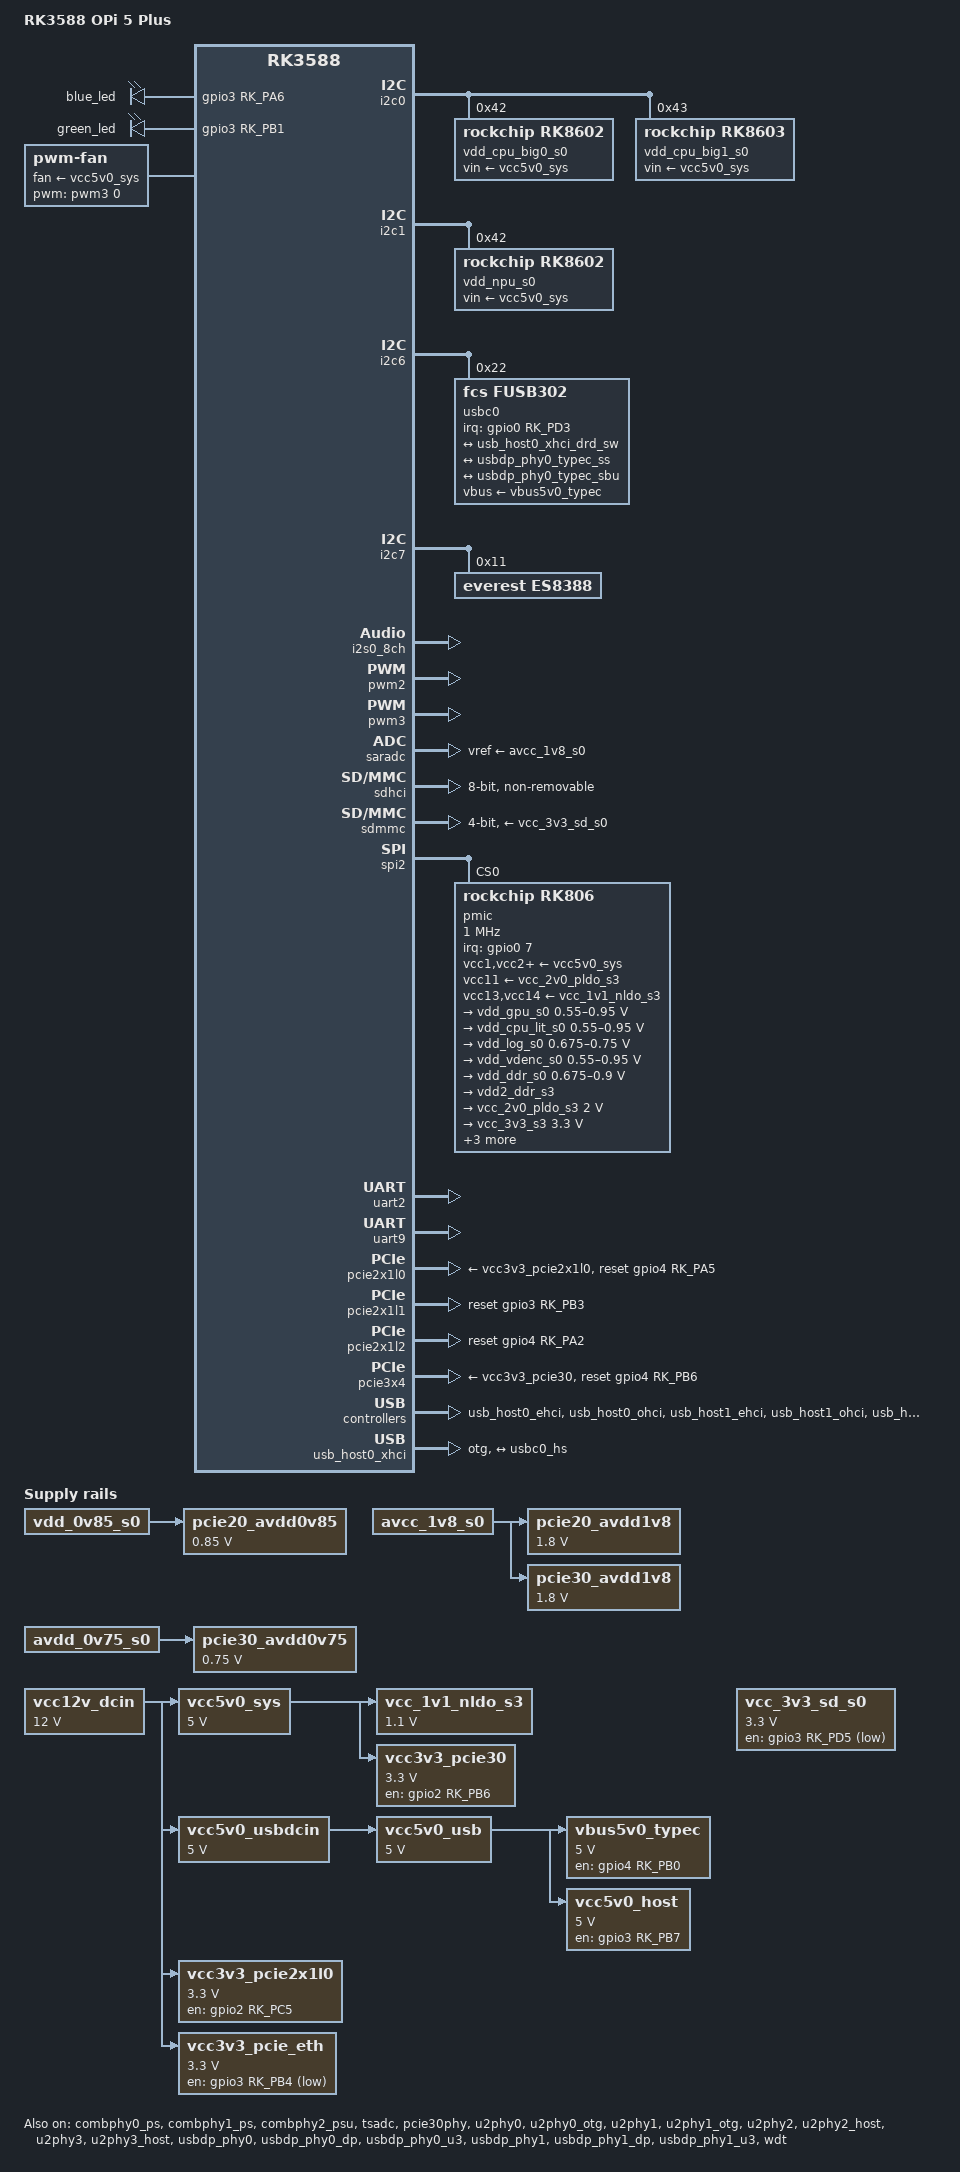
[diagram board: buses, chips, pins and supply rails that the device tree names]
// SPDX-License-Identifier: (GPL-2.0+ OR MIT)

/dts-v1/;

#include <dt-bindings/pinctrl/rockchip.h>
#include <dt-bindings/gpio/gpio.h>
#include <dt-bindings/input/input.h>
#include <dt-bindings/usb/pd.h>
#include "rk3588.dtsi"

/ {
	model = "RK3588 OPi 5 Plus";
	compatible = "rockchip,rk3588-orangepi-5-plus", "rockchip,rk3588";

	aliases {
		mmc0 = &sdmmc;
		mmc1 = &sdhci;
		serial2 = &uart2;
	};

	chosen {
		stdout-path = "serial2:1500000n8";
	};

	gpio_leds: leds {
		compatible = "gpio-leds";
		pinctrl-names = "default";
		pinctrl-0 =<&leds_rgb>;
		status = "okay";

		blue_led@1 {
			gpios = <&gpio3 RK_PA6 GPIO_ACTIVE_HIGH>;
			label = "blue_led";
			linux,default-trigger = "heartbeat";
			linux,default-trigger-delay-ms = <0>;
		};

		green_led@2 {
			gpios = <&gpio3 RK_PB1 GPIO_ACTIVE_HIGH>;
			label = "green_led";
			linux,default-trigger = "heartbeat";
			linux,default-trigger-delay-ms = <0>;
		};
	};

	fan: pwm-fan {
		compatible = "pwm-fan";
		cooling-levels = <0 70 75 80 100>;
		fan-supply = <&vcc5v0_sys>;
		pwms = <&pwm3 0 50000 0>;
		#cooling-cells = <2>;
	};

	vcc12v_dcin: vcc12v-dcin-regulator {
		compatible = "regulator-fixed";
		regulator-name = "vcc12v_dcin";
		regulator-always-on;
		regulator-boot-on;
		regulator-min-microvolt = <12000000>;
		regulator-max-microvolt = <12000000>;
	};

	vcc5v0_sys: vcc5v0-sys-regulator {
		compatible = "regulator-fixed";
		regulator-name = "vcc5v0_sys";
		regulator-always-on;
		regulator-boot-on;
		regulator-min-microvolt = <5000000>;
		regulator-max-microvolt = <5000000>;
		vin-supply = <&vcc12v_dcin>;
	};

	vcc_1v1_nldo_s3: vcc-1v1-nldo-s3-regulator {
		compatible = "regulator-fixed";
		regulator-name = "vcc_1v1_nldo_s3";
		regulator-always-on;
		regulator-boot-on;
		regulator-min-microvolt = <1100000>;
		regulator-max-microvolt = <1100000>;
		vin-supply = <&vcc5v0_sys>;
	};

	vcc_3v3_sd_s0: vcc-3v3-sd-s0 {
		compatible = "regulator-fixed";
		regulator-name = "vcc_3v3_sd_s0";
		regulator-min-microvolt = <3300000>;
		regulator-max-microvolt = <3300000>;
		gpios = <&gpio3 RK_PD5 GPIO_ACTIVE_LOW>;
		pinctrl-names = "default";
		pinctrl-0 = <&sdmmc_pwr>;
		enable-active-low;
	};

	vcc5v0_usbdcin: vcc5v0-usbdcin-regulator {
		compatible = "regulator-fixed";
		regulator-name = "vcc5v0_usbdcin";
		regulator-always-on;
		regulator-boot-on;
		regulator-min-microvolt = <5000000>;
		regulator-max-microvolt = <5000000>;
		vin-supply = <&vcc12v_dcin>;
	};

	vcc5v0_usb: vcc5v0-usb-regulator {
		compatible = "regulator-fixed";
		regulator-name = "vcc5v0_usb";
		regulator-always-on;
		regulator-boot-on;
		regulator-min-microvolt = <5000000>;
		regulator-max-microvolt = <5000000>;
		vin-supply = <&vcc5v0_usbdcin>;
	};

	vbus5v0_typec: vbus5v0-typec-regulator {
		compatible = "regulator-fixed";
		regulator-name = "vbus5v0_typec";
		regulator-min-microvolt = <5000000>;
		regulator-max-microvolt = <5000000>;
		enable-active-high;
		gpio = <&gpio4 RK_PB0 GPIO_ACTIVE_HIGH>;
		vin-supply = <&vcc5v0_usb>;
		pinctrl-names = "default";
		pinctrl-0 = <&typec5v_pwren>;
	};

	pcie20_avdd0v85: pcie20-avdd0v85-regulator {
		compatible = "regulator-fixed";
		regulator-name = "pcie20_avdd0v85";
		regulator-boot-on;
		regulator-always-on;
		regulator-min-microvolt = <850000>;
		regulator-max-microvolt = <850000>;
		vin-supply = <&vdd_0v85_s0>;
	};

	pcie20_avdd1v8: pcie20-avdd1v8-regulator {
		compatible = "regulator-fixed";
		regulator-name = "pcie20_avdd1v8";
		regulator-boot-on;
		regulator-always-on;
		regulator-min-microvolt = <1800000>;
		regulator-max-microvolt = <1800000>;
		vin-supply = <&avcc_1v8_s0>;
	};

	pcie30_avdd0v75: pcie30-avdd0v75-regulator {
		compatible = "regulator-fixed";
		regulator-name = "pcie30_avdd0v75";
		regulator-boot-on;
		regulator-always-on;
		regulator-min-microvolt = <750000>;
		regulator-max-microvolt = <750000>;
		vin-supply = <&avdd_0v75_s0>;
	};

	pcie30_avdd1v8: pcie30-avdd1v8-regulator {
		compatible = "regulator-fixed";
		regulator-name = "pcie30_avdd1v8";
		regulator-boot-on;
		regulator-always-on;
		regulator-min-microvolt = <1800000>;
		regulator-max-microvolt = <1800000>;
		vin-supply = <&avcc_1v8_s0>;
	};

	vcc3v3_pcie30: vcc3v3-pcie30-regulator {
		compatible = "regulator-fixed";
		regulator-name = "vcc3v3_pcie30";
		regulator-min-microvolt = <3300000>;
		regulator-max-microvolt = <3300000>;
		enable-active-high;
		gpios = <&gpio2 RK_PB6 GPIO_ACTIVE_HIGH>;
		startup-delay-us = <5000>;
		vin-supply = <&vcc5v0_sys>;
	};

	vcc3v3_pcie2x1l0: vcc3v3-pcie2x1l0-regulator {
		compatible = "regulator-fixed";
		regulator-name = "vcc3v3_pcie2x1l0";
		regulator-min-microvolt = <3300000>;
		regulator-max-microvolt = <3300000>;
		enable-active-high;
		gpios = <&gpio2 RK_PC5 GPIO_ACTIVE_HIGH>;
		startup-delay-us = <50000>;
		vin-supply = <&vcc12v_dcin>;
	};

	vcc3v3_pcie_eth: vcc3v3-pcie-eth-regulator {
		compatible = "regulator-fixed";
		regulator-name = "vcc3v3_pcie_eth";
		regulator-min-microvolt = <3300000>;
		regulator-max-microvolt = <3300000>;
		regulator-boot-on;
		regulator-always-on;
		enable-active-low;
		gpios = <&gpio3 RK_PB4 GPIO_ACTIVE_LOW>;
		startup-delay-us = <50000>;
		vin-supply = <&vcc12v_dcin>;
	};

	vcc5v0_host: vcc5v0-host-regulator {
		compatible = "regulator-fixed";
		regulator-name = "vcc5v0_host";
		regulator-boot-on;
		regulator-always-on;
		regulator-min-microvolt = <5000000>;
		regulator-max-microvolt = <5000000>;
		enable-active-high;
		gpio = <&gpio3 RK_PB7 GPIO_ACTIVE_HIGH>;
		vin-supply = <&vcc5v0_usb>;
		pinctrl-names = "default";
		pinctrl-0 = <&vcc5v0_host_en>;
	};
};

&combphy0_ps {
	status = "okay";
};

&combphy1_ps {
	status = "okay";
};

&combphy2_psu {
	status = "okay";
};

&cpu_b0 {
	cpu-supply = <&vdd_cpu_big0_s0>;
	mem-supply = <&vdd_cpu_big0_mem_s0>;
};

&cpu_b1 {
	cpu-supply = <&vdd_cpu_big0_s0>;
	mem-supply = <&vdd_cpu_big0_mem_s0>;
};

&cpu_b2 {
	cpu-supply = <&vdd_cpu_big1_s0>;
	mem-supply = <&vdd_cpu_big1_mem_s0>;
};

&cpu_b3 {
	cpu-supply = <&vdd_cpu_big1_s0>;
	mem-supply = <&vdd_cpu_big1_mem_s0>;
};

&cpu_l0 {
	cpu-supply = <&vdd_cpu_lit_s0>;
	mem-supply = <&vdd_cpu_lit_mem_s0>;
};

&cpu_l1 {
	cpu-supply = <&vdd_cpu_lit_s0>;
	mem-supply = <&vdd_cpu_lit_mem_s0>;
};

&cpu_l2 {
	cpu-supply = <&vdd_cpu_lit_s0>;
	mem-supply = <&vdd_cpu_lit_mem_s0>;
};

&cpu_l3 {
	cpu-supply = <&vdd_cpu_lit_s0>;
	mem-supply = <&vdd_cpu_lit_mem_s0>;
};

&i2c0 {
	pinctrl-names = "default";
	pinctrl-0 = <&i2c0m2_xfer>;
	status = "okay";

	vdd_cpu_big0_s0: vdd_cpu_big0_mem_s0: regulator@42 {
		compatible = "rockchip,rk8602";
		reg = <0x42>;
		fcs,suspend-voltage-selector = <1>;
		regulator-name = "vdd_cpu_big0_s0";
		regulator-always-on;
		regulator-boot-on;
		regulator-min-microvolt = <550000>;
		regulator-max-microvolt = <1050000>;
		regulator-ramp-delay = <2300>;
		vin-supply = <&vcc5v0_sys>;

		regulator-state-mem {
			regulator-off-in-suspend;
		};
	};

	vdd_cpu_big1_s0: vdd_cpu_big1_mem_s0: regulator@43 {
		compatible = "rockchip,rk8603", "rockchip,rk8602";
		reg = <0x43>;
		fcs,suspend-voltage-selector = <1>;
		regulator-name = "vdd_cpu_big1_s0";
		regulator-always-on;
		regulator-boot-on;
		regulator-min-microvolt = <550000>;
		regulator-max-microvolt = <1050000>;
		regulator-ramp-delay = <2300>;
		vin-supply = <&vcc5v0_sys>;

		regulator-state-mem {
			regulator-off-in-suspend;
		};
	};
};

&i2c1 {
	pinctrl-names = "default";
	pinctrl-0 = <&i2c1m2_xfer>;
	status = "okay";

	vdd_npu_s0: vdd_npu_mem_s0: rk8602@42 {
		compatible = "rockchip,rk8602";
		reg = <0x42>;
		vin-supply = <&vcc5v0_sys>;
		regulator-compatible = "rk860x-reg";
		regulator-name = "vdd_npu_s0";
		regulator-min-microvolt = <550000>;
		regulator-max-microvolt = <950000>;
		regulator-ramp-delay = <2300>;
		rockchip,suspend-voltage-selector = <1>;
		regulator-boot-on;
		regulator-always-on;

		regulator-state-mem {
			regulator-off-in-suspend;
		};
	};
};

&i2c6 {
	pinctrl-names = "default";
	pinctrl-0 = <&i2c6m0_xfer>;
	status = "okay";

	usbc0: usb-typec@22 {
		compatible = "fcs,fusb302";
		reg = <0x22>;
		interrupt-parent = <&gpio0>;
		interrupts = <RK_PD3 IRQ_TYPE_LEVEL_LOW>;
		pinctrl-names = "default";
		pinctrl-0 = <&usbc0_int>;
		vbus-supply = <&vbus5v0_typec>;
		status = "okay";

		usb_con: connector {
			compatible = "usb-c-connector";
			label = "USB-C";
			data-role = "dual";
			power-role = "dual";
			try-power-role = "sink";
			op-sink-microwatt = <1000000>;
			sink-pdos =
				<PDO_FIXED(5000, 1000, PDO_FIXED_USB_COMM)>;
			source-pdos =
				<PDO_FIXED(5000, 3000, PDO_FIXED_USB_COMM)>;

			ports {
				#address-cells = <1>;
				#size-cells = <0>;

				port@0 {
					reg = <0>;
					usbc0_hs: endpoint {
						remote-endpoint = <&usb_host0_xhci_drd_sw>;
					};
				};

				port@1 {
					reg = <1>;
					usbc0_ss: endpoint {
						remote-endpoint = <&usbdp_phy0_typec_ss>;
					};
				};

				port@2 {
					reg = <2>;
					usbc0_sbu: endpoint {
						remote-endpoint = <&usbdp_phy0_typec_sbu>;
					};
				};
			};
		};
	};
};

&i2c7 {
	status = "okay";

	es8388: audio-codec@11 {
		compatible = "everest,es8388";
		reg = <0x11>;
		clocks = <&cru I2S0_8CH_MCLKOUT>;
		clock-names = "mclk";
		assigned-clocks = <&cru I2S0_8CH_MCLKOUT>;
		assigned-clock-rates = <12288000>;
		pinctrl-names = "default";
		pinctrl-0 = <&i2s0_mclk>;
		#sound-dai-cells = <0>;
	};
};

&i2s0_8ch {
	pinctrl-0 = <&i2s0_lrck
		     &i2s0_sclk
		     &i2s0_sdi0
		     &i2s0_sdo0>;
	status = "okay";
};

&pinctrl {
	usb {
		vcc5v0_host_en: vcc5v0-host-en {
			rockchip,pins = <3 RK_PB7 RK_FUNC_GPIO &pcfg_pull_none>;
		};
	};

	usb-typec {
		usbc0_int: usbc0-int {
			rockchip,pins = <0 RK_PD3 RK_FUNC_GPIO &pcfg_pull_up>;
		};

		typec5v_pwren: typec5v-pwren {
			rockchip,pins = <4 RK_PB0 RK_FUNC_GPIO &pcfg_pull_none>;
		};
	};

	sdmmc {
		sdmmc_pwr: sdmmc_pwr {
			rockchip,pins = <3 RK_PD5 RK_FUNC_GPIO &pcfg_pull_down>;
		};
	};

	gpio-func {
		leds_rgb: leds-rgb {
		        rockchip,pins = <3 RK_PA6 RK_FUNC_GPIO &pcfg_pull_up>,
					<3 RK_PB1 RK_FUNC_GPIO &pcfg_pull_up>;
		};
	};
};

&pwm2 {
	pinctrl-names = "default";
	pinctrl-0 = <&pwm2m2_pins>;
	status = "okay";
};

&pwm3 {
	pinctrl-names = "default";
	pinctrl-0 = <&pwm3m1_pins>;
	status = "okay";
};

&saradc {
	vref-supply = <&avcc_1v8_s0>;
	status = "okay";
};

&sdhci {
	bus-width = <8>;
	no-sdio;
	no-sd;
	non-removable;
	max-frequency = <200000000>;
	mmc-hs400-1_8v;
	mmc-hs400-enhanced-strobe;
	status = "okay";
};

&sdmmc {
	max-frequency = <150000000>;
	no-sdio;
	no-mmc;
	bus-width = <4>;
	cap-mmc-highspeed;
	cap-sd-highspeed;
	disable-wp;
	sd-uhs-sdr104;
	vmmc-supply = <&vcc_3v3_sd_s0>;
	vqmmc-supply = <&vccio_sd_s0>;
	status = "okay";
};

&spi0 {
	assigned-clocks = <&cru CLK_SPI0>;
	assigned-clock-rates = <200000000>;
	num-cs = <2>;
	status = "disabled";
};

&spi2 {
	status = "okay";
	assigned-clocks = <&cru CLK_SPI2>;
	assigned-clock-rates = <200000000>;
	pinctrl-names = "default";
	pinctrl-0 = <&spi2m2_cs0 &spi2m2_pins>;
	num-cs = <1>;

	pmic@0 {
		compatible = "rockchip,rk806";
		spi-max-frequency = <1000000>;
		reg = <0x0>;

		interrupt-parent = <&gpio0>;
		interrupts = <7 IRQ_TYPE_LEVEL_LOW>;

		pinctrl-names = "default";
		pinctrl-0 = <&pmic_pins>, <&rk806_dvs1_null>,
			    <&rk806_dvs2_null>, <&rk806_dvs3_null>;

		vcc1-supply = <&vcc5v0_sys>;
		vcc2-supply = <&vcc5v0_sys>;
		vcc3-supply = <&vcc5v0_sys>;
		vcc4-supply = <&vcc5v0_sys>;
		vcc5-supply = <&vcc5v0_sys>;
		vcc6-supply = <&vcc5v0_sys>;
		vcc7-supply = <&vcc5v0_sys>;
		vcc8-supply = <&vcc5v0_sys>;
		vcc9-supply = <&vcc5v0_sys>;
		vcc10-supply = <&vcc5v0_sys>;
		vcc11-supply = <&vcc_2v0_pldo_s3>;
		vcc12-supply = <&vcc5v0_sys>;
		vcc13-supply = <&vcc_1v1_nldo_s3>;
		vcc14-supply = <&vcc_1v1_nldo_s3>;
		vcca-supply = <&vcc5v0_sys>;

		gpio-controller;
		#gpio-cells = <2>;

		rk806_dvs1_null: dvs1-null-pins {
			pins = "gpio_pwrctrl2";
			function = "pin_fun0";
		};

		rk806_dvs2_null: dvs2-null-pins {
			pins = "gpio_pwrctrl2";
			function = "pin_fudr_moden0";
		};

		rk806_dvs3_null: dvs3-null-pins {
			pins = "gpio_pwrctrl3";
			function = "pin_fun0";
		};

		regulators {
			vdd_gpu_s0: vdd_gpu_mem_s0: dcdc-reg1 {
				regulator-boot-on;
				regulator-min-microvolt = <550000>;
				regulator-max-microvolt = <950000>;
				regulator-ramp-delay = <12500>;
				regulator-name = "vdd_gpu_s0";
				regulator-enable-ramp-delay = <400>;

				regulator-state-mem {
					regulator-off-in-suspend;
				};
			};

			vdd_cpu_lit_s0: vdd_cpu_lit_mem_s0: dcdc-reg2 {
				regulator-always-on;
				regulator-boot-on;
				regulator-min-microvolt = <550000>;
				regulator-max-microvolt = <950000>;
				regulator-ramp-delay = <12500>;
				regulator-name = "vdd_cpu_lit_s0";

				regulator-state-mem {
					regulator-off-in-suspend;
				};
			};

			vdd_log_s0: dcdc-reg3 {
				regulator-always-on;
				regulator-boot-on;
				regulator-min-microvolt = <675000>;
				regulator-max-microvolt = <750000>;
				regulator-ramp-delay = <12500>;
				regulator-name = "vdd_log_s0";

				regulator-state-mem {
					regulator-off-in-suspend;
					regulator-suspend-microvolt = <750000>;
				};
			};

			vdd_vdenc_s0: vdd_vdenc_mem_s0: dcdc-reg4 {
				regulator-always-on;
				regulator-boot-on;
				regulator-min-microvolt = <550000>;
				regulator-max-microvolt = <950000>;
				regulator-init-microvolt = <750000>;
				regulator-ramp-delay = <12500>;
				regulator-name = "vdd_vdenc_s0";

				regulator-state-mem {
					regulator-off-in-suspend;
				};
			};

			vdd_ddr_s0: dcdc-reg5 {
				regulator-always-on;
				regulator-boot-on;
				regulator-min-microvolt = <675000>;
				regulator-max-microvolt = <900000>;
				regulator-ramp-delay = <12500>;
				regulator-name = "vdd_ddr_s0";

				regulator-state-mem {
					regulator-off-in-suspend;
					regulator-suspend-microvolt = <850000>;
				};
			};

			vdd2_ddr_s3: dcdc-reg6 {
				regulator-always-on;
				regulator-boot-on;
				regulator-name = "vdd2_ddr_s3";

				regulator-state-mem {
					regulator-on-in-suspend;
				};
			};

			vcc_2v0_pldo_s3: dcdc-reg7 {
				regulator-always-on;
				regulator-boot-on;
				regulator-min-microvolt = <2000000>;
				regulator-max-microvolt = <2000000>;
				regulator-ramp-delay = <12500>;
				regulator-name = "vdd_2v0_pldo_s3";

				regulator-state-mem {
					regulator-on-in-suspend;
					regulator-suspend-microvolt = <2000000>;
				};
			};

			vcc_3v3_s3: dcdc-reg8 {
				regulator-always-on;
				regulator-boot-on;
				regulator-min-microvolt = <3300000>;
				regulator-max-microvolt = <3300000>;
				regulator-name = "vcc_3v3_s3";

				regulator-state-mem {
					regulator-on-in-suspend;
					regulator-suspend-microvolt = <3300000>;
				};
			};

			vddq_ddr_s0: dcdc-reg9 {
				regulator-always-on;
				regulator-boot-on;
				regulator-name = "vddq_ddr_s0";

				regulator-state-mem {
					regulator-off-in-suspend;
				};
			};

			vcc_1v8_s3: dcdc-reg10 {
				regulator-always-on;
				regulator-boot-on;
				regulator-min-microvolt = <1800000>;
				regulator-max-microvolt = <1800000>;
				regulator-name = "vcc_1v8_s3";

				regulator-state-mem {
					regulator-on-in-suspend;
					regulator-suspend-microvolt = <1800000>;
				};
			};

			avcc_1v8_s0: pldo-reg1 {
				regulator-always-on;
				regulator-boot-on;
				regulator-min-microvolt = <1800000>;
				regulator-max-microvolt = <1800000>;
				regulator-name = "avcc_1v8_s0";

				regulator-state-mem {
					regulator-off-in-suspend;
				};
			};

			vcc_1v8_s0: pldo-reg2 {
				regulator-always-on;
				regulator-boot-on;
				regulator-min-microvolt = <1800000>;
				regulator-max-microvolt = <1800000>;
				regulator-name = "vcc_1v8_s0";

				regulator-state-mem {
					regulator-off-in-suspend;
					regulator-suspend-microvolt = <1800000>;
				};
			};

			avdd_1v2_s0: pldo-reg3 {
				regulator-always-on;
				regulator-boot-on;
				regulator-min-microvolt = <1200000>;
				regulator-max-microvolt = <1200000>;
				regulator-name = "avdd_1v2_s0";

				regulator-state-mem {
					regulator-off-in-suspend;
				};
			};

			vcc_3v3_s0: pldo-reg4 {
				regulator-always-on;
				regulator-boot-on;
				regulator-min-microvolt = <3300000>;
				regulator-max-microvolt = <3300000>;
				regulator-ramp-delay = <12500>;
				regulator-name = "vcc_3v3_s0";

				regulator-state-mem {
					regulator-off-in-suspend;
				};
			};

			vccio_sd_s0: pldo-reg5 {
				regulator-always-on;
				regulator-boot-on;
				regulator-min-microvolt = <1800000>;
				regulator-max-microvolt = <3300000>;
				regulator-ramp-delay = <12500>;
				regulator-name = "vccio_sd_s0";

				regulator-state-mem {
					regulator-off-in-suspend;
				};
			};

			pldo6_s3: pldo-reg6 {
				regulator-always-on;
				regulator-boot-on;
				regulator-min-microvolt = <1800000>;
				regulator-max-microvolt = <1800000>;
				regulator-name = "pldo6_s3";

				regulator-state-mem {
					regulator-on-in-suspend;
					regulator-suspend-microvolt = <1800000>;
				};
			};

			vdd_0v75_s3: nldo-reg1 {
				regulator-always-on;
				regulator-boot-on;
				regulator-min-microvolt = <750000>;
				regulator-max-microvolt = <750000>;
				regulator-name = "vdd_0v75_s3";

				regulator-state-mem {
					regulator-on-in-suspend;
					regulator-suspend-microvolt = <750000>;
				};
			};

			vdd_ddr_pll_s0: nldo-reg2 {
				regulator-always-on;
				regulator-boot-on;
				regulator-min-microvolt = <850000>;
				regulator-max-microvolt = <850000>;
				regulator-name = "vdd_ddr_pll_s0";

				regulator-state-mem {
					regulator-off-in-suspend;
					regulator-suspend-microvolt = <850000>;
				};
			};

			avdd_0v75_s0: nldo-reg3 {
				regulator-always-on;
				regulator-boot-on;
				regulator-min-microvolt = <750000>;
				regulator-max-microvolt = <750000>;
				regulator-name = "avdd_0v75_s0";

				regulator-state-mem {
					regulator-off-in-suspend;
				};
			};

			vdd_0v85_s0: nldo-reg4 {
				regulator-always-on;
				regulator-boot-on;
				regulator-min-microvolt = <850000>;
				regulator-max-microvolt = <850000>;
				regulator-name = "vdd_0v85_s0";

				regulator-state-mem {
					regulator-off-in-suspend;
				};
			};

			vdd_0v75_s0: nldo-reg5 {
				regulator-always-on;
				regulator-boot-on;
				regulator-min-microvolt = <750000>;
				regulator-max-microvolt = <750000>;
				regulator-name = "vdd_0v75_s0";

				regulator-state-mem {
					regulator-off-in-suspend;
				};
			};
		};
	};
};

&spi4 {
	assigned-clocks = <&cru CLK_SPI4>;
	assigned-clock-rates = <200000000>;
	num-cs = <2>;
	status = "disabled";
};

&uart2 {
	pinctrl-0 = <&uart2m0_xfer>;
	status = "okay";
};

&uart9 {
	pinctrl-names = "default";
	pinctrl-0 = <&uart9m0_xfer &uart9m0_ctsn>;
	status = "okay";
};

&tsadc {
	status = "okay";
};

&pcie2x1l0 {
	reset-gpios = <&gpio4 RK_PA5 GPIO_ACTIVE_HIGH>;
	vpcie3v3-supply = <&vcc3v3_pcie2x1l0>;
	rockchip,skip-scan-in-resume;
	status = "okay";
};

&pcie2x1l1 {
	reset-gpios = <&gpio3 RK_PB3 GPIO_ACTIVE_HIGH>;
	rockchip,init-delay-ms = <100>;
	status = "okay";
};

&pcie2x1l2 {
	reset-gpios = <&gpio4 RK_PA2 GPIO_ACTIVE_HIGH>;
	status = "okay";
};

&pcie30phy {
	status = "okay";
};

&pcie3x4 {
	reset-gpios = <&gpio4 RK_PB6 GPIO_ACTIVE_HIGH>;
	vpcie3v3-supply = <&vcc3v3_pcie30>;
	status = "okay";
};

&u2phy0 {
	status = "okay";
};

&u2phy0_otg {
	rockchip,typec-vbus-det;
	status = "okay";
};

&u2phy1 {
	status = "okay";
};

&u2phy1_otg {
	phy-supply = <&vcc5v0_host>;
	status = "okay";
};

&u2phy2 {
	status = "okay";
};

&u2phy2_host {
	phy-supply = <&vcc5v0_host>;
	status = "okay";
};

&u2phy3 {
	status = "okay";
};

&u2phy3_host {
	phy-supply = <&vcc5v0_host>;
	status = "okay";
};

&usbdp_phy0 {
	orientation-switch;
	mode-switch;
	status = "okay";
	sbu1-dc-gpios = <&gpio4 RK_PA6 GPIO_ACTIVE_HIGH>;
	sbu2-dc-gpios = <&gpio4 RK_PA7 GPIO_ACTIVE_HIGH>;

	port {
		#address-cells = <1>;
		#size-cells = <0>;

		usbdp_phy0_typec_ss: endpoint@0 {
			reg = <0>;
			remote-endpoint = <&usbc0_ss>;
		};

		usbdp_phy0_typec_sbu: endpoint@1 {
			reg = <1>;
			remote-endpoint = <&usbc0_sbu>;
		};
	};
};

&usbdp_phy0_dp {
	status = "okay";
};

&usbdp_phy0_u3 {
	status = "okay";
};

&usbdp_phy1 {
	rockchip,dp-lane-mux = <2 3>;
	status = "okay";
};

&usbdp_phy1_dp {
	status = "okay";
};

&usbdp_phy1_u3 {
	status = "okay";
};

&usb_host0_ehci {
	status = "okay";
};

&usb_host0_ohci {
	status = "okay";
};

&usb_host0_xhci {
	usb-role-switch;
	dr_mode = "otg";
	status = "okay";

	port {
		#address-cells = <1>;
		#size-cells = <0>;

		usb_host0_xhci_drd_sw: endpoint {
			remote-endpoint = <&usbc0_hs>;
		};
	};
};

&usb_host1_ehci {
	status = "okay";
};

&usb_host1_ohci {
	status = "okay";
};

&usb_host1_xhci {
	status = "okay";
};

&wdt {
	status = "okay";
};
